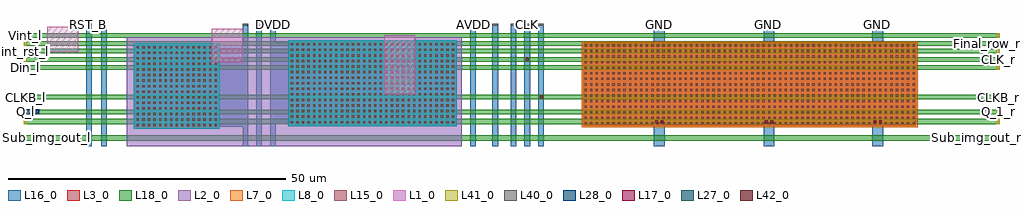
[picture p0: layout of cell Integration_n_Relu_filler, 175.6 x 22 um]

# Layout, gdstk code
import gdstk
lib = gdstk.Library(unit=1e-6, precision=1e-09)
def R(c, l, rs):  # rectangles x0, y0, x1, y1
    for r in rs: c.add(gdstk.rectangle(r[:2], r[2:], *l))
def A(c, l, x, y, w, h, nx, ny, dx, dy):  # array of equal rectangles
    R(c, l, [(x+i*dx, y+j*dy, x+i*dx+w, y+j*dy+h) for i in range(nx) for j in range(ny)])
L1_0 = (1, 0)
L2_0 = (2, 0)
L3_0 = (3, 0)
L7_0 = (7, 0)
L8_0 = (8, 0)
L15_0 = (15, 0)
L16_0 = (16, 0)
L17_0 = (17, 0)
L18_0 = (18, 0)
L27_0 = (27, 0)
L28_0 = (28, 0)
L40_0 = (40, 0)
L41_0 = (41, 0)
L42_0 = (42, 0)

m2_m1_cdns_761326363040 = lib.new_cell('M2_M1_CDNS_761326363040')
R(m2_m1_cdns_761326363040, L16_0, [(-0.95,-0.45,0.95,0.45)])
R(m2_m1_cdns_761326363040, L17_0, [(-0.75,-0.25,-0.25,0.25), (0.25,-0.25,0.75,0.25)])
R(m2_m1_cdns_761326363040, L18_0, [(-0.9,-0.4,0.9,0.4)])

m1_pactive_cdns_76132636 = lib.new_cell('M1_PACTIVE_CDNS_761326363041')
R(m1_pactive_cdns_76132636, L3_0, [(-29.95,-7.45,29.95,7.45)])
R(m1_pactive_cdns_76132636, L7_0, [(-30.2,-7.7,30.2,7.7)])
A(m1_pactive_cdns_76132636, L15_0, -29.7, -7.2, 0.4, 0.4, 60, 15, 1, 1)
R(m1_pactive_cdns_76132636, L16_0, [(-29.85,-7.35,29.85,7.35)])

m1_nactive_cdns_76132636 = lib.new_cell('M1_NACTIVE_CDNS_761326363042')
R(m1_nactive_cdns_76132636, L3_0, [(-7.45,-7.45,7.45,7.45)])
R(m1_nactive_cdns_76132636, L8_0, [(-7.7,-7.7,7.7,7.7)])
A(m1_nactive_cdns_76132636, L15_0, -7.2, -7.2, 0.4, 0.4, 15, 15, 1, 1)
R(m1_nactive_cdns_76132636, L16_0, [(-7.35,-7.35,7.35,7.35)])

m3_m2_cdns_761326363043 = lib.new_cell('M3_M2_CDNS_761326363043')
R(m3_m2_cdns_761326363043, L18_0, [(-0.95,-0.45,0.95,0.45)])
R(m3_m2_cdns_761326363043, L27_0, [(-0.75,-0.25,-0.25,0.25), (0.25,-0.25,0.75,0.25)])
R(m3_m2_cdns_761326363043, L28_0, [(-0.9,-0.4,0.9,0.4)])

c_m1_nactive_cdns_76132636 = lib.new_cell('M1_NACTIVE_CDNS_761326363044')
R(c_m1_nactive_cdns_76132636, L3_0, [(-14.95,-7.45,14.95,7.45)])
R(c_m1_nactive_cdns_76132636, L8_0, [(-15.2,-7.7,15.2,7.7)])
A(c_m1_nactive_cdns_76132636, L15_0, -14.7, -7.2, 0.4, 0.4, 30, 15, 1, 1)
R(c_m1_nactive_cdns_76132636, L16_0, [(-14.85,-7.35,14.85,7.35)])

m2_m1_cdns_761326363045 = lib.new_cell('M2_M1_CDNS_761326363045')
R(m2_m1_cdns_761326363045, L16_0, [(-0.45,-0.45,0.45,0.45)])
R(m2_m1_cdns_761326363045, L17_0, [(-0.25,-0.25,0.25,0.25)])
R(m2_m1_cdns_761326363045, L18_0, [(-0.4,-0.4,0.4,0.4)])

integration_n_relu_fille = lib.new_cell('Integration_n_Relu_filler')
R(integration_n_relu_fille, L1_0, [(64.91,9.33,70.51,13.93), (64.91,13.93,70.51,19.93), (33.86,15.1,39.46,21.1), (4.27,16.88,9.87,21.48)])
R(integration_n_relu_fille, L2_0, [(18.57,0,50.92,19.57), (46.5,0,78.85,19.57)])
R(integration_n_relu_fille, L16_0, [(113.43,0,115.33,22), (133.16,0,135.06,22), (152.75,0,154.65,22), (34.93,3.45,39.74,18.15), (45.03,3.96,47.94,18.67)])
R(integration_n_relu_fille, L28_0, [(0,5.76,2.85,6.61)])
R(integration_n_relu_fille, L40_0, [(11.31,21.68,12.3,22), (14.02,21.68,15.02,22), (39.41,21.68,40.41,22), (41.91,21.68,42.91,22), (44.42,21.68,45.42,22), (80.38,21.68,81.38,22), (84.38,21.68,85.38,22), (87.63,21.68,88.63,22), (90.13,21.68,91.13,22), (92.64,21.68,93.64,22), (113.58,21.68,115.1,22), (133.31,21.68,134.83,22), (152.94,21.68,154.46,22)])
A(integration_n_relu_fille, L41_0, 0, 13.71, 0.54, 0.8, 1, 3, 0, 1.5)
A(integration_n_relu_fille, L41_0, 175.06, 13.71, 0.54, 0.8, 1, 3, 0, 1.5)
R(integration_n_relu_fille, L41_0, [(0,0.99,0.54,1.99), (175.06,0.99,175.6,1.99), (0,3.91,0.54,4.91), (175.06,3.91,175.6,4.91), (0,5.76,0.54,6.56), (175.06,5.76,175.6,6.56), (0,8.41,0.54,9.21), (175.06,8.41,175.6,9.21), (0,18.1,0.54,18.9), (175.06,18.1,175.6,18.9), (0,19.5,0.54,20.3), (175.06,19.5,175.6,20.3)])
R(integration_n_relu_fille, L42_0, [(0,5.76,0.56,6.56)])
integration_n_relu_fille.add(gdstk.FlexPath([(11.8,0),(11.8,22)], 1, ends="flush", simple_path=True, layer=16, datatype=0))  # L16_0
integration_n_relu_fille.add(gdstk.FlexPath([(14.52,22),(14.52,0)], 1, ends="flush", simple_path=True, layer=16, datatype=0))  # L16_0
integration_n_relu_fille.add(gdstk.FlexPath([(93.14,0),(93.14,22)], 1, ends="flush", simple_path=True, layer=16, datatype=0))  # L16_0
integration_n_relu_fille.add(gdstk.FlexPath([(44.92,0),(44.92,22)], 1, ends="flush", simple_path=True, layer=16, datatype=0))  # L16_0
integration_n_relu_fille.add(gdstk.FlexPath([(39.91,0),(39.91,22)], 1, ends="flush", simple_path=True, layer=16, datatype=0))  # L16_0
integration_n_relu_fille.add(gdstk.FlexPath([(88.13,0),(88.13,22)], 1, ends="flush", simple_path=True, layer=16, datatype=0))  # L16_0
integration_n_relu_fille.add(gdstk.FlexPath([(42.41,0),(42.41,22)], 1, ends="flush", simple_path=True, layer=16, datatype=0))  # L16_0
integration_n_relu_fille.add(gdstk.FlexPath([(80.88,0),(80.88,22)], 1, ends="flush", simple_path=True, layer=16, datatype=0))  # L16_0
integration_n_relu_fille.add(gdstk.FlexPath([(84.88,0),(84.88,22)], 1, ends="flush", simple_path=True, layer=16, datatype=0))  # L16_0
integration_n_relu_fille.add(gdstk.FlexPath([(90.63,0),(90.63,22)], 1, ends="flush", simple_path=True, layer=16, datatype=0))  # L16_0
integration_n_relu_fille.add(gdstk.FlexPath([(175.6,17.11),(0,17.11)], 0.8, ends="flush", simple_path=True, layer=18, datatype=0))  # L18_0
integration_n_relu_fille.add(gdstk.FlexPath([(175.6,15.61),(0,15.61)], 0.8, ends="flush", simple_path=True, layer=18, datatype=0))  # L18_0
integration_n_relu_fille.add(gdstk.FlexPath([(0.9,4.41),(175.6,4.41)], 1, ends=(0.9, 0), simple_path=True, layer=18, datatype=0))  # L18_0
integration_n_relu_fille.add(gdstk.FlexPath([(175.6,8.81),(0,8.81)], 0.8, ends="flush", simple_path=True, layer=18, datatype=0))  # L18_0
integration_n_relu_fille.add(gdstk.FlexPath([(175.6,14.11),(0,14.11)], 0.8, ends="flush", simple_path=True, layer=18, datatype=0))  # L18_0
integration_n_relu_fille.add(gdstk.FlexPath([(0,6.16),(175.6,6.16)], 0.8, ends="flush", simple_path=True, layer=18, datatype=0))  # L18_0
integration_n_relu_fille.add(gdstk.FlexPath([(0.9,1.49),(175.6,1.49)], 1, ends=(0.9, 0), simple_path=True, layer=18, datatype=0))  # L18_0
integration_n_relu_fille.add(gdstk.FlexPath([(175.6,19.9),(0,19.9)], 0.8, ends="flush", simple_path=True, layer=18, datatype=0))  # L18_0
integration_n_relu_fille.add(gdstk.FlexPath([(175.6,18.5),(0,18.5)], 0.8, ends="flush", simple_path=True, layer=18, datatype=0))  # L18_0
integration_n_relu_fille.add(gdstk.Reference(m2_m1_cdns_761326363040, (153.7,4.4)))
integration_n_relu_fille.add(gdstk.Reference(m2_m1_cdns_761326363040, (134.11,4.4)))
integration_n_relu_fille.add(gdstk.Reference(m2_m1_cdns_761326363040, (114.38,4.4)))
integration_n_relu_fille.add(gdstk.Reference(m1_pactive_cdns_76132636, (130.65,11.11)))
integration_n_relu_fille.add(gdstk.Reference(m1_nactive_cdns_76132636, (27.58,10.8)))
integration_n_relu_fille.add(gdstk.Reference(m3_m2_cdns_761326363043, (1.95,6.21)))
integration_n_relu_fille.add(gdstk.Reference(c_m1_nactive_cdns_76132636, (62.79,11.32)))
integration_n_relu_fille.add(gdstk.Reference(m2_m1_cdns_761326363045, (90.62,15.61)))
integration_n_relu_fille.add(gdstk.Reference(m2_m1_cdns_761326363045, (93.17,8.81)))
integration_n_relu_fille.add(gdstk.Label('Q_l', (0.31,6.15), layer=42, texttype=0))
integration_n_relu_fille.add(gdstk.Label('RST_B', (11.78,21.83), layer=40, texttype=0))
integration_n_relu_fille.add(gdstk.Label('DVDD', (44.92,21.83), layer=40, texttype=0))
integration_n_relu_fille.add(gdstk.Label('CLK', (90.63,21.83), layer=40, texttype=0))
integration_n_relu_fille.add(gdstk.Label('CLKB', (93.14,21.83), layer=40, texttype=0))
integration_n_relu_fille.add(gdstk.Label('VImg_CLK', (42.41,21.83), layer=40, texttype=0))
integration_n_relu_fille.add(gdstk.Label('Vb', (88.13,21.83), layer=40, texttype=0))
integration_n_relu_fille.add(gdstk.Label('AVDD_by_2', (84.88,21.83), layer=40, texttype=0))
integration_n_relu_fille.add(gdstk.Label('AVDD', (80.88,21.83), layer=40, texttype=0))
integration_n_relu_fille.add(gdstk.Label('DVDD', (14.52,21.83), layer=40, texttype=0))
integration_n_relu_fille.add(gdstk.Label('GND', (153.73,21.83), layer=40, texttype=0))
integration_n_relu_fille.add(gdstk.Label('DVDD', (39.91,21.83), layer=40, texttype=0))
integration_n_relu_fille.add(gdstk.Label('GND', (114.37,21.83), layer=40, texttype=0))
integration_n_relu_fille.add(gdstk.Label('GND', (134.1,21.83), layer=40, texttype=0))
integration_n_relu_fille.add(gdstk.Label('CLKB_r', (175.37,8.8), layer=41, texttype=0))
integration_n_relu_fille.add(gdstk.Label('CLK_r', (175.37,15.6), layer=41, texttype=0))
integration_n_relu_fille.add(gdstk.Label('int_rst_r', (175.37,17.1), layer=41, texttype=0))
integration_n_relu_fille.add(gdstk.Label('Final_row_r', (175.37,18.49), layer=41, texttype=0))
integration_n_relu_fille.add(gdstk.Label('Q_1_r', (175.37,6.15), layer=41, texttype=0))
integration_n_relu_fille.add(gdstk.Label('Q_r', (175.37,14.1), layer=41, texttype=0))
integration_n_relu_fille.add(gdstk.Label('Vint_r', (175.37,19.89), layer=41, texttype=0))
integration_n_relu_fille.add(gdstk.Label('Vint_l', (0.31,19.89), layer=41, texttype=0))
integration_n_relu_fille.add(gdstk.Label('Final_row_l', (0.31,18.49), layer=41, texttype=0))
integration_n_relu_fille.add(gdstk.Label('Sub_img_out_r', (175.37,1.51), layer=41, texttype=0))
integration_n_relu_fille.add(gdstk.Label('int_rst_l', (0.31,17.1), layer=41, texttype=0))
integration_n_relu_fille.add(gdstk.Label('CLK_l', (0.31,15.6), layer=41, texttype=0))
integration_n_relu_fille.add(gdstk.Label('Din_l', (0.31,14.1), layer=41, texttype=0))
integration_n_relu_fille.add(gdstk.Label('CLKB_l', (0.31,8.8), layer=41, texttype=0))
integration_n_relu_fille.add(gdstk.Label('Q_l', (0.31,6.15), layer=41, texttype=0))
integration_n_relu_fille.add(gdstk.Label('GND_l', (0.31,4.39), layer=41, texttype=0))
integration_n_relu_fille.add(gdstk.Label('Sub_img_out_l', (0.31,1.5), layer=41, texttype=0))
integration_n_relu_fille.add(gdstk.Label('GND_r', (175.37,4.39), layer=41, texttype=0))

lib.write_gds('Integration_n_Relu_filler.gds')
